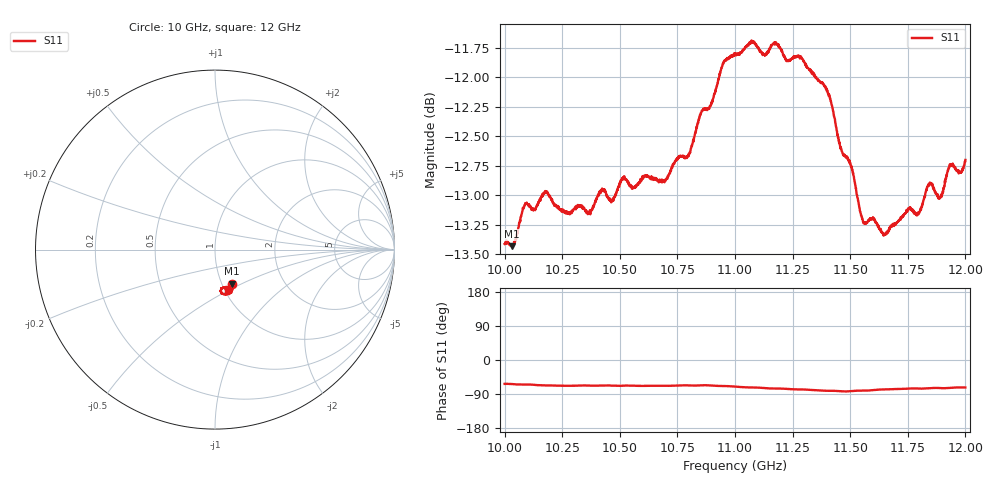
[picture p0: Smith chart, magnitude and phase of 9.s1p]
[Version] 2.0
! Rohde & Schwarz Vector Network Analyzer
! Rohde-Schwarz,ZNL20-2Port,1323001220200009,1.71.1.10-23.02.1.238
! Port Assignments:
! Nominal Port -> Actual Test Port
!  1 -> 1
! Created: GMT 2024-09-04 14:20:27
# Hz S DB R 50
[Number of Ports] 1
! freq[Hz]  S11[mag dB]  S11[ang]
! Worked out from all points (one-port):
!   2001 points, 10 GHz to 12 GHz, reference 50 ohm
!   lowest |S11| = -13.4 dB at 10.03 GHz (marker M1), VSWR 1.54, Z = 55.8 - j22.3 ohm
!   |S11| at or under -10 dB: start of sweep to end of sweep
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[Number of Frequencies] 28
[Network Data]
1e10  -13.41 -63.1
1.0033e10  -13.43 -63.5
1.0092e10  -13.07 -64.7
1.0178e10  -12.97 -67.1
1.025e10  -13.12 -67.9
1.0365e10  -13.16 -67.4
1.0417e10  -12.98 -67.4
1.0465e10  -13.05 -67.7
1.05e10  -12.90 -68.1
1.0692e10  -12.87 -67.8
1.075e10  -12.70 -67.3
1.0797e10  -12.66 -67.0
1.0872e10  -12.27 -66.6
1.0951e10  -11.87 -68.8
1.1e10  -11.80 -70.1
1.1175e10  -11.71 -75.3
1.125e10  -11.84 -77.2
1.1391e10  -12.08 -81.1
1.1461e10  -12.61 -82.5
1.15e10  -12.72 -82.3
1.1564e10  -13.24 -80.8
1.1652e10  -13.33 -77.6
1.175e10  -13.13 -75.6
1.1797e10  -13.16 -75.2
1.1847e10  -12.91 -74.4
1.189e10  -13.02 -74.0
1.1933e10  -12.75 -73.4
1.2e10  -12.70 -72.5
[End]
